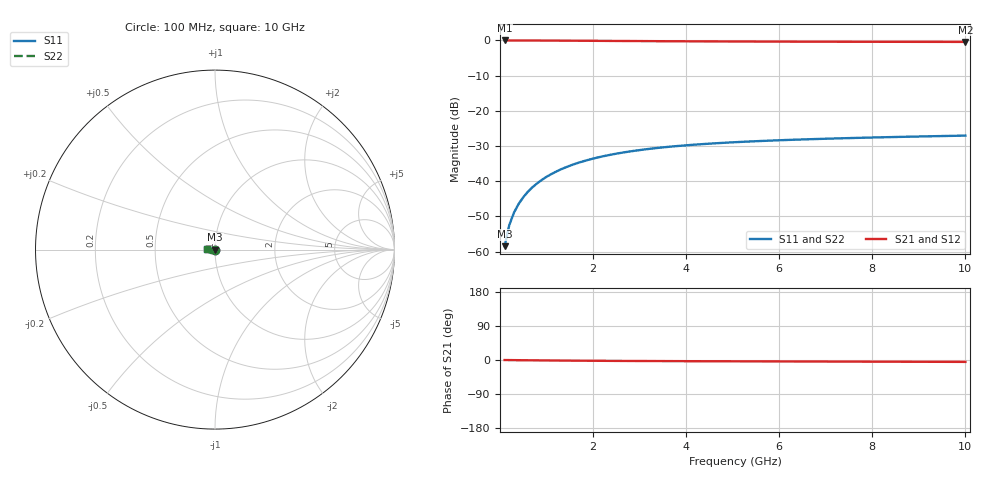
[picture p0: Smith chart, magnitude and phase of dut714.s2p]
! Touchstone file exported from HFSS 2024.1.0
!  File:  C:/UserFiles/LocalFiles/RDL_TSV_Batchsim/temp_TSV1_714_1779867538.aedt
!  Generated:  03:45:35 PM May 27, 2026
!  Design:  TSV1
!  Project:  temp_TSV1_714_1779867538
!  Setup:  Setup1
!  Solution:  Sweep
! Variables:
!  dtsv = 10.24um
!  hbump = 3um
!  htsv = 77.22um
!  lrdl = 252.1521522um
!  p = 40
!  p1 = 51.09um
!  t = 500um
!  trdl = 3um
!  wrdl = 24.89489489um
# GHz S MA R 50.000000
! Terminal data exported
! Port[1] = TSV22_T1
! Port[2] = TSV22_T2
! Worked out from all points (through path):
!   100 points, 100 MHz to 10 GHz, reference 50 ohm
!   highest |S21| = 0.00 dB at 100 MHz (marker M1); lowest = -0.4 dB at 10 GHz (marker M2)
!   lowest |S11| = -58.5 dB at 100 MHz (marker M3), VSWR 1.00, Z = 50 - j0.119 ohm
!   |S11| at or under -10 dB: start of sweep to end of sweep
!   |S22| runs from -58.5 to -27.0 dB; largest |S21 - S12| = 7.1e-15
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0.1  0.001194 -85.3  0.9998 -0.1  0.9998 -0.1  0.001194 -85.3
! Gamma 0 0 0 0
! Port Impedance 50 0 50 0
0.2  0.002377 -90.2  0.9997 -0.2  0.9997 -0.2  0.002377 -90.2
0.3  0.003562 -93.1  0.9995 -0.4  0.9995 -0.4  0.003562 -93.1
0.4  0.004743 -95.4  0.9992 -0.5  0.9992 -0.5  0.004743 -95.4
0.5  0.005915 -97.6  0.9989 -0.6  0.9989 -0.6  0.005915 -97.6
0.6  0.007074 -99.6  0.9984 -0.7  0.9984 -0.7  0.007074 -99.6
0.7  0.008218 -101.6  0.998 -0.8  0.998 -0.8  0.008218 -101.6
0.8  0.009344 -103.5  0.9974 -0.9  0.9974 -0.9  0.009344 -103.5
0.9  0.01045 -105.4  0.9968 -1.0  0.9968 -1.0  0.01045 -105.4
1.1  0.0126 -109.0  0.9955 -1.3  0.9955 -1.3  0.0126 -109.0
1.4  0.01562 -114.2  0.9932 -1.5  0.9932 -1.5  0.01562 -114.2
1.6  0.01751 -117.4  0.9916 -1.7  0.9916 -1.7  0.01751 -117.4
1.8  0.01928 -120.6  0.9898 -1.9  0.9898 -1.9  0.01928 -120.6
2.1  0.02173 -125.0  0.9872 -2.1  0.9872 -2.1  0.02173 -125.0
2.5  0.02462 -130.5  0.9837 -2.4  0.9837 -2.4  0.02462 -130.5
2.9  0.02711 -135.5  0.9803 -2.6  0.9803 -2.6  0.02711 -135.5
3.4  0.02976 -141.2  0.9765 -2.8  0.9765 -2.8  0.02976 -141.2
4.2  0.03311 -149.0  0.9712 -3.2  0.9712 -3.2  0.03311 -149.0
5.1  0.03597 -156.4  0.9665 -3.5  0.9665 -3.5  0.03597 -156.4
6.7  0.03959 -167.1  0.9605 -4.0  0.9605 -4.0  0.03959 -167.1
8.4  0.04235 -176.2  0.9563 -4.5  0.9563 -4.5  0.04235 -176.2
10  0.04446 176.7  0.9537 -5.0  0.9537 -5.0  0.04445 176.7
